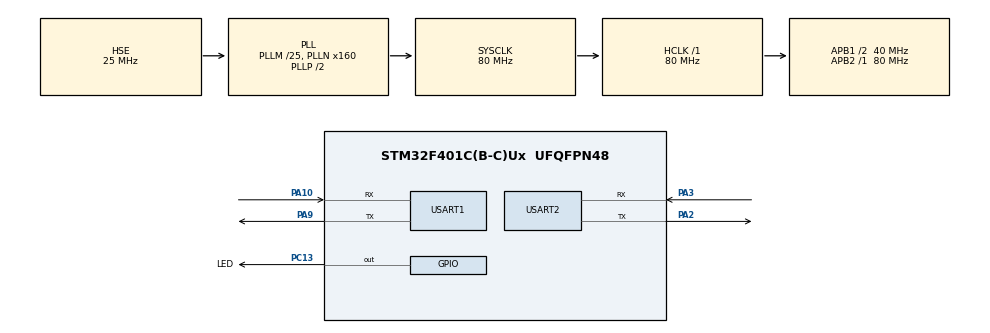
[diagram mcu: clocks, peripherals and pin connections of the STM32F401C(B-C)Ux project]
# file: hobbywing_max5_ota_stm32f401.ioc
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Dma.Request0=USART2_RX
Dma.USART2_RX.0.Direction=DMA_PERIPH_TO_MEMORY
Dma.USART2_RX.0.FIFOMode=DMA_FIFOMODE_DISABLE
Dma.USART2_RX.0.Instance=DMA1_Stream5
Dma.USART2_RX.0.MemDataAlignment=DMA_MDATAALIGN_BYTE
Dma.USART2_RX.0.MemInc=DMA_MINC_ENABLE
Dma.USART2_RX.0.Mode=DMA_CIRCULAR
Dma.USART2_RX.0.PeriphDataAlignment=DMA_PDATAALIGN_BYTE
Dma.USART2_RX.0.PeriphInc=DMA_PINC_DISABLE
Dma.USART2_RX.0.Priority=DMA_PRIORITY_LOW
Mcu.Family=STM32F4
Mcu.Name=STM32F401C(B-C)Ux
Mcu.Package=UFQFPN48
NVIC.DMA1_Stream5_IRQn=true\:0\:0\:false\:false\:true\:false\:true\:true
NVIC.PriorityGroup=NVIC_PRIORITYGROUP_4
NVIC.USART2_IRQn=true\:0\:0\:false\:false\:true\:true\:true\:true
PA10.Mode=Asynchronous
PA10.Signal=USART1_RX
PA13.Mode=Serial_Wire
PA13.Signal=SYS_JTMS-SWDIO
PA14.Mode=Serial_Wire
PA14.Signal=SYS_JTCK-SWCLK
PA2.Mode=Asynchronous
PA2.Signal=USART2_TX
PA3.Mode=Asynchronous
PA3.Signal=USART2_RX
PA9.Mode=Asynchronous
PA9.Signal=USART1_TX
PC13-ANTI_TAMP.GPIO_Label=LED
PC13-ANTI_TAMP.Signal=GPIO_Output
PH0\ -\ OSC_IN.Mode=HSE-External-Oscillator
PH0\ -\ OSC_IN.Signal=RCC_OSC_IN
PH1\ -\ OSC_OUT.Mode=HSE-External-Oscillator
PH1\ -\ OSC_OUT.Signal=RCC_OSC_OUT
ProjectManager.HeapSize=0x200
ProjectManager.StackSize=0x400
ProjectManager.TargetToolchain=STM32CubeIDE
RCC.48MHZClocksFreq_Value=40000000
RCC.AHBFreq_Value=80000000
RCC.APB1CLKDivider=RCC_HCLK_DIV2
RCC.APB1Freq_Value=40000000
RCC.APB1TimFreq_Value=80000000
RCC.APB2Freq_Value=80000000
RCC.APB2TimFreq_Value=80000000
RCC.CortexFreq_Value=80000000
RCC.HCLKFreq_Value=80000000
RCC.HSE_VALUE=25000000
RCC.HSI_VALUE=16000000
RCC.LSE_VALUE=32768
RCC.PLLM=25
RCC.PLLN=160
RCC.PLLSourceVirtual=RCC_PLLSOURCE_HSE
RCC.SYSCLKFreq_VALUE=80000000
RCC.SYSCLKSource=RCC_SYSCLKSOURCE_PLLCLK
RCC.VCOOutputFreq_Value=160000000
USART1.VirtualMode=VM_ASYNC
USART2.VirtualMode=VM_ASYNC
board=custom

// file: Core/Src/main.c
/* USER CODE BEGIN Header */
/**
  ******************************************************************************
  * @file           : main.c
  * @brief          : Main program body
  ******************************************************************************
  * @attention
  *
  * Copyright (c) 2023 STMicroelectronics.
  * All rights reserved.
  *
  * This software is licensed under terms that can be found in the LICENSE file
  * in the root directory of this software component.
  * If no LICENSE file comes with this software, it is provided AS-IS.
  *
  ******************************************************************************
  */
/* USER CODE END Header */
#include "main.h"

/* USER CODE BEGIN Includes */
#include <stdio.h>
/* USER CODE END Includes */

/* USER CODE BEGIN PTD */
typedef struct{
	int16_t throttle;
	uint32_t rpm;
	float voltage;
	float current;
	uint16_t temperature;
} ESC_SensorTypeDef;

/* USER CODE END PTD */

/* USER CODE BEGIN PD */
#define SENSOR_DATA_SIZE 32
/* USER CODE END PD */

UART_HandleTypeDef huart1;
UART_HandleTypeDef huart2;
DMA_HandleTypeDef hdma_usart2_rx;

/* USER CODE BEGIN PV */
uint8_t ble_receive[32]={0};
ESC_SensorTypeDef esc_sensor_data;
/* USER CODE END PV */

void SystemClock_Config(void);
static void MX_GPIO_Init(void);
static void MX_DMA_Init(void);
static void MX_USART1_UART_Init(void);
static void MX_USART2_UART_Init(void);
/* USER CODE BEGIN PFP */
#ifdef __GNUC__
#define PUTCHAR_PROTOTYPE int __io_putchar(int ch)
#else
#define PUTCHAR_PROTOTYPE int fputc(int ch, FILE *f)
#endif

PUTCHAR_PROTOTYPE
{
  HAL_UART_Transmit(&huart1, (uint8_t *)&ch, 1, HAL_MAX_DELAY);
  return ch;
}
/* USER CODE END PFP */

/* USER CODE BEGIN 0 */

HAL_StatusTypeDef read_ble_data(uint8_t* data, ESC_SensorTypeDef* esc_sensor){
	static uint8_t start_index = 0;
	for(uint8_t i=start_index;i<start_index+SENSOR_DATA_SIZE;++i){
		if(data[i]==0xFE && data[(i+1)%SENSOR_DATA_SIZE]==0x01){
			start_index = i%SENSOR_DATA_SIZE;
			break;
		}
	}

	if(data[(2+start_index)%SENSOR_DATA_SIZE]!=0x00)return HAL_ERROR;
	if(data[(3+start_index)%SENSOR_DATA_SIZE]!=0x03)return HAL_ERROR;
	if(data[(4+start_index)%SENSOR_DATA_SIZE]!=0x30)return HAL_ERROR;
	if(data[(5+start_index)%SENSOR_DATA_SIZE]!=0x5c)return HAL_ERROR;
	if(data[(6+start_index)%SENSOR_DATA_SIZE]!=0x17)return HAL_ERROR;
	if(data[(7+start_index)%SENSOR_DATA_SIZE]!=0x06)return HAL_ERROR;

	esc_sensor->throttle = (int16_t)(data[(9+start_index)%SENSOR_DATA_SIZE]);
	if(data[(11+start_index)%SENSOR_DATA_SIZE]!=0x01)esc_sensor->throttle=-esc_sensor->throttle;

	esc_sensor->rpm = ((uint32_t)(data[(14+start_index)%SENSOR_DATA_SIZE] <<8) | (data[(13+start_index)%SENSOR_DATA_SIZE]))*10;
	esc_sensor->voltage = (float)(data[(15+start_index)%SENSOR_DATA_SIZE])/10.0f;
	esc_sensor->current = ((uint16_t)(data[(16+start_index)%SENSOR_DATA_SIZE] <<8) | (data[(17+start_index)%SENSOR_DATA_SIZE]))/10.0;
	esc_sensor->temperature = (uint16_t)(data[(18+start_index)%SENSOR_DATA_SIZE] <<8) | (data[(19+start_index)%SENSOR_DATA_SIZE]);

	return HAL_OK;
}

void HAL_UART_RxCpltCallback(UART_HandleTypeDef *huart){
	if(huart->Instance==USART2){
		if(read_ble_data(ble_receive, &esc_sensor_data)==HAL_OK){
			printf("Throttle: %d\n",esc_sensor_data.throttle);
			printf("rpm: %lu\n",esc_sensor_data.rpm);
			printf("Voltage: %0.1f\n",esc_sensor_data.voltage);
			printf("Current: %0.1f\n",esc_sensor_data.current);
			printf("Temperature: %u\n",esc_sensor_data.temperature);
		}
	}
}

void HAL_UART_ErrorCallback(UART_HandleTypeDef *UartHandle) {
    if(UartHandle->Instance==USART2) {
    	printf("error\n");
    	HAL_UART_Receive_DMA(&huart2, ble_receive, SENSOR_DATA_SIZE);
    }
}

/* USER CODE END 0 */

int main(void)
{

  /* MCU Configuration--------------------------------------------------------*/

  /* Reset of all peripherals, Initializes the Flash interface and the Systick. */
  HAL_Init();

  /* Configure the system clock */
  SystemClock_Config();

  /* Initialize all configured peripherals */
  MX_GPIO_Init();
  MX_DMA_Init();
  MX_USART1_UART_Init();
  MX_USART2_UART_Init();
  /* USER CODE BEGIN 2 */
  HAL_GPIO_WritePin(LED_GPIO_Port, LED_Pin, GPIO_PIN_SET);
  HAL_UART_Receive_DMA(&huart2, ble_receive, SENSOR_DATA_SIZE);
  /* USER CODE END 2 */

  /* Infinite loop */
  /* USER CODE BEGIN WHILE */
  while (1)
  {
	  HAL_Delay(500);
	  HAL_GPIO_TogglePin(LED_GPIO_Port, LED_Pin);
    /* USER CODE END WHILE */

  }
}

void SystemClock_Config(void)
{
  RCC_OscInitTypeDef RCC_OscInitStruct = {0};
  RCC_ClkInitTypeDef RCC_ClkInitStruct = {0};

  /** Configure the main internal regulator output voltage
  */
  __HAL_RCC_PWR_CLK_ENABLE();
  __HAL_PWR_VOLTAGESCALING_CONFIG(PWR_REGULATOR_VOLTAGE_SCALE2);

  /** Initializes the RCC Oscillators according to the specified parameters
  * in the RCC_OscInitTypeDef structure.
  */
  RCC_OscInitStruct.OscillatorType = RCC_OSCILLATORTYPE_HSE;
  RCC_OscInitStruct.HSEState = RCC_HSE_ON;
  RCC_OscInitStruct.PLL.PLLState = RCC_PLL_ON;
  RCC_OscInitStruct.PLL.PLLSource = RCC_PLLSOURCE_HSE;
  RCC_OscInitStruct.PLL.PLLM = 25;
  RCC_OscInitStruct.PLL.PLLN = 160;
  RCC_OscInitStruct.PLL.PLLP = RCC_PLLP_DIV2;
  RCC_OscInitStruct.PLL.PLLQ = 4;
  if (HAL_RCC_OscConfig(&RCC_OscInitStruct) != HAL_OK)
  {
    Error_Handler();
  }

  /** Initializes the CPU, AHB and APB buses clocks
  */
  RCC_ClkInitStruct.ClockType = RCC_CLOCKTYPE_HCLK|RCC_CLOCKTYPE_SYSCLK
                              |RCC_CLOCKTYPE_PCLK1|RCC_CLOCKTYPE_PCLK2;
  RCC_ClkInitStruct.SYSCLKSource = RCC_SYSCLKSOURCE_PLLCLK;
  RCC_ClkInitStruct.AHBCLKDivider = RCC_SYSCLK_DIV1;
  RCC_ClkInitStruct.APB1CLKDivider = RCC_HCLK_DIV2;
  RCC_ClkInitStruct.APB2CLKDivider = RCC_HCLK_DIV1;

  if (HAL_RCC_ClockConfig(&RCC_ClkInitStruct, FLASH_LATENCY_2) != HAL_OK)
  {
    Error_Handler();
  }
}

static void MX_USART1_UART_Init(void)
{

  huart1.Instance = USART1;
  huart1.Init.BaudRate = 115200;
  huart1.Init.WordLength = UART_WORDLENGTH_8B;
  huart1.Init.StopBits = UART_STOPBITS_1;
  huart1.Init.Parity = UART_PARITY_NONE;
  huart1.Init.Mode = UART_MODE_TX_RX;
  huart1.Init.HwFlowCtl = UART_HWCONTROL_NONE;
  huart1.Init.OverSampling = UART_OVERSAMPLING_16;
  if (HAL_UART_Init(&huart1) != HAL_OK)
  {
    Error_Handler();
  }

}

static void MX_USART2_UART_Init(void)
{

  huart2.Instance = USART2;
  huart2.Init.BaudRate = 115200;
  huart2.Init.WordLength = UART_WORDLENGTH_8B;
  huart2.Init.StopBits = UART_STOPBITS_1;
  huart2.Init.Parity = UART_PARITY_NONE;
  huart2.Init.Mode = UART_MODE_TX_RX;
  huart2.Init.HwFlowCtl = UART_HWCONTROL_NONE;
  huart2.Init.OverSampling = UART_OVERSAMPLING_16;
  if (HAL_UART_Init(&huart2) != HAL_OK)
  {
    Error_Handler();
  }

}

static void MX_DMA_Init(void)
{

  /* DMA controller clock enable */
  __HAL_RCC_DMA1_CLK_ENABLE();

  /* DMA interrupt init */
  /* DMA1_Stream5_IRQn interrupt configuration */
  HAL_NVIC_SetPriority(DMA1_Stream5_IRQn, 0, 0);
  HAL_NVIC_EnableIRQ(DMA1_Stream5_IRQn);

}

static void MX_GPIO_Init(void)
{
  GPIO_InitTypeDef GPIO_InitStruct = {0};

  /* GPIO Ports Clock Enable */
  __HAL_RCC_GPIOC_CLK_ENABLE();
  __HAL_RCC_GPIOH_CLK_ENABLE();
  __HAL_RCC_GPIOA_CLK_ENABLE();

  /*Configure GPIO pin Output Level */
  HAL_GPIO_WritePin(LED_GPIO_Port, LED_Pin, GPIO_PIN_RESET);

  /*Configure GPIO pin : LED_Pin */
  GPIO_InitStruct.Pin = LED_Pin;
  GPIO_InitStruct.Mode = GPIO_MODE_OUTPUT_PP;
  GPIO_InitStruct.Pull = GPIO_NOPULL;
  GPIO_InitStruct.Speed = GPIO_SPEED_FREQ_LOW;
  HAL_GPIO_Init(LED_GPIO_Port, &GPIO_InitStruct);

}

void Error_Handler(void)
{
  __disable_irq();
  while (1)
  {
  }
}
